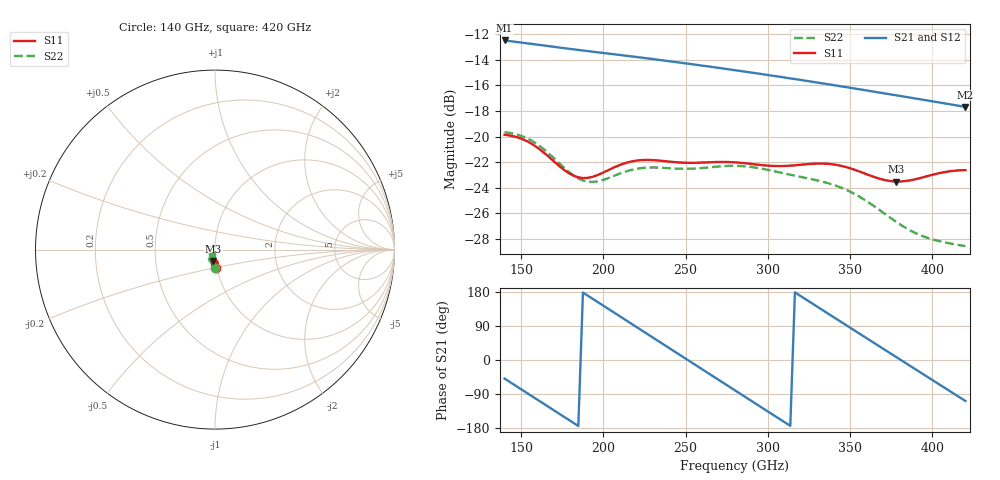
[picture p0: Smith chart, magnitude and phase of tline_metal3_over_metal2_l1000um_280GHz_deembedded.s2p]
! Created with skrf 2.0.1 (http://scikit-rf.org).
# GHz S DB R 50.0
!freq dBS11 angS11 dBS21 angS21 dBS12 angS12 dBS22 angS22
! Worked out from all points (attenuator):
!   101 points, 140 GHz to 420 GHz, reference 50 ohm
!   highest |S21| = -12.50 dB at 140 GHz (marker M1); lowest = -17.7 dB at 420 GHz (marker M2)
!   lowest |S11| = -23.5 dB at 378 GHz (marker M3), VSWR 1.14, Z = 48.7 - j6.47 ohm
!   |S11| at or under -10 dB: start of sweep to end of sweep
!   |S22| runs from -28.6 to -19.7 dB; largest |S21 - S12| = 2.2e-13
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140  -19.86 -85.3  -12.50 -49.1  -12.50 -49.1  -19.66 -88.5
151.2  -20.22 -89.0  -12.68 -80.4  -12.68 -80.4  -20.00 -92.7
162.4  -21.11 -92.5  -12.87 -111.7  -12.87 -111.7  -20.85 -97.4
176.4  -22.63 -91.2  -13.10 -150.8  -13.10 -150.8  -22.47 -98.5
187.6  -23.24 -84.6  -13.28 178.0  -13.28 178.0  -23.43 -93.4
198.8  -22.88 -79.2  -13.46 146.7  -13.46 146.7  -23.43 -87.5
212.8  -22.10 -79.2  -13.68 107.6  -13.68 107.6  -22.77 -86.0
224  -21.83 -82.1  -13.85 76.3  -13.85 76.3  -22.45 -88.5
235.2  -21.89 -84.8  -14.04 45.0  -14.04 45.0  -22.44 -91.3
254.8  -22.05 -86.7  -14.37 -9.8  -14.37 -9.8  -22.50 -94.4
268.8  -21.99 -88.3  -14.62 -48.9  -14.62 -48.9  -22.35 -97.3
280  -22.02 -90.3  -14.82 -80.2  -14.82 -80.2  -22.29 -101.0
291.2  -22.16 -91.9  -15.03 -111.4  -15.03 -111.4  -22.40 -105.2
305.2  -22.31 -92.6  -15.30 -150.4  -15.30 -150.4  -22.75 -109.9
316.4  -22.25 -93.1  -15.51 178.5  -15.51 178.5  -23.06 -113.0
327.6  -22.13 -94.9  -15.74 147.3  -15.74 147.3  -23.36 -116.2
338.8  -22.16 -97.7  -15.96 116.2  -15.96 116.2  -23.73 -119.9
350  -22.48 -100.3  -16.19 85.2  -16.19 85.2  -24.31 -123.7
375.2  -23.49 -98.4  -16.72 15.5  -16.72 15.5  -26.42 -127.4
378  -23.51 -97.6  -16.78 7.7  -16.78 7.7  -26.67 -127.0
400.4  -22.98 -94.1  -17.26 -54.1  -17.26 -54.1  -28.05 -120.2
420  -22.62 -95.9  -17.69 -108.1  -17.69 -108.1  -28.56 -113.6
